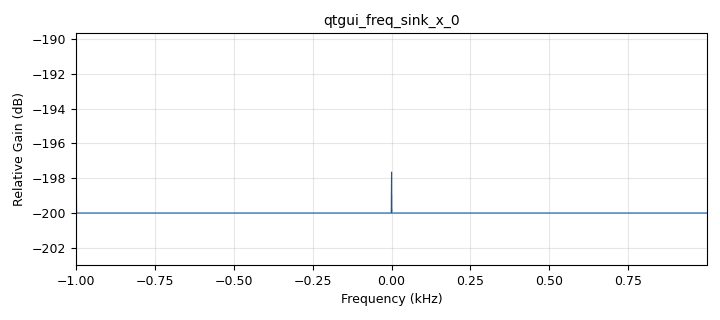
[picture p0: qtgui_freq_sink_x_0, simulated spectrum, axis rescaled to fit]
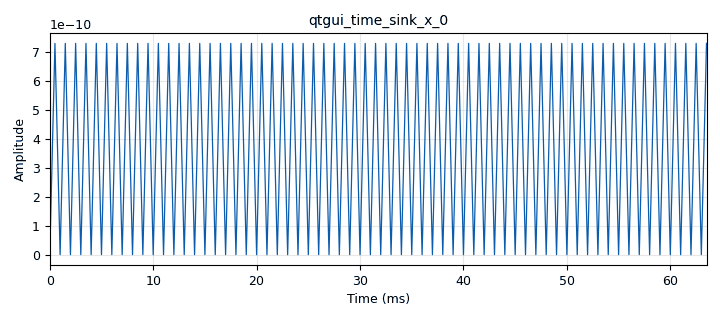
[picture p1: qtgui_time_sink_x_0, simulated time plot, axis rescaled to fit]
options:
  parameters:
    author: DBarrios_SCampo
    generate_options: qt_gui
    id: Parte1
    output_language: python
    title: Prac1_A
  states: {}

blocks:
- name: freq
  id: variable_qtgui_range
  parameters:
    label: Frecuencia
    start: '1000'
    step: '1000'
    stop: '40000'
    value: '1000'
  states: {}
- name: samp_rate
  id: variable_qtgui_range
  parameters:
    label: Sampling
    start: '1000'
    step: '1000'
    stop: '40000'
    value: '2000'
  states: {}
- name: analog_sig_source_x_1
  id: analog_sig_source_x
  parameters:
    amp: '1'
    freq: freq
    offset: '0'
    phase: '0'
    samp_rate: samp_rate
    type: float
    waveform: analog.GR_SIN_WAVE
  states: {}
- name: blocks_throttle_0
  id: blocks_throttle
  parameters:
    samples_per_second: samp_rate
    type: float
  states: {}
- name: qtgui_freq_sink_x_0
  id: qtgui_freq_sink_x
  parameters:
    bw: samp_rate
    fc: '0'
    fftsize: '2048'
    type: float
  states: {}
- name: qtgui_time_sink_x_0
  id: qtgui_time_sink_x
  parameters:
    size: '128'
    srate: samp_rate
    type: float
  states: {}

connections:
- [analog_sig_source_x_1, '0', blocks_throttle_0, '0']
- [blocks_throttle_0, '0', qtgui_freq_sink_x_0, '0']
- [blocks_throttle_0, '0', qtgui_time_sink_x_0, '0']

metadata:
  file_format: 1
